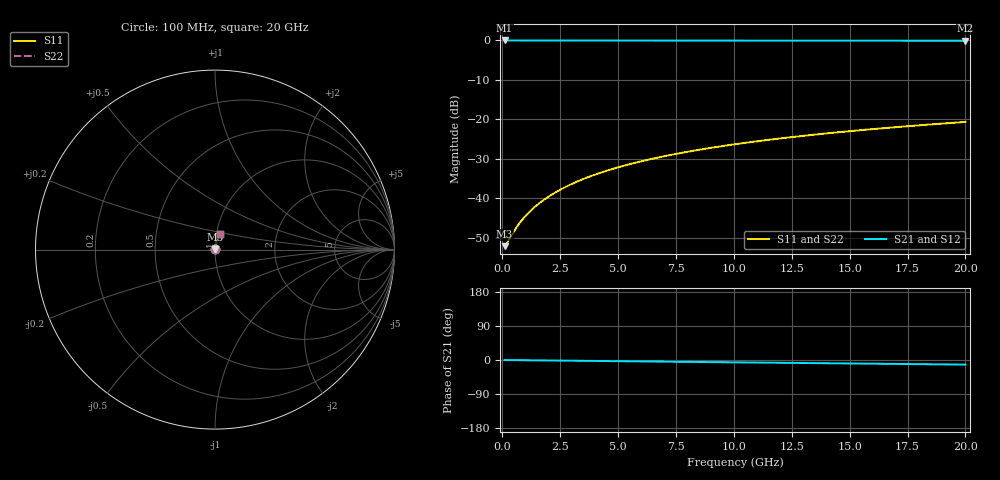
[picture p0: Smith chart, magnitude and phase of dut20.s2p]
! Touchstone file exported from HFSS 2026.1.0
!  File:  C:/ffzhzh/LocalFiles/Ansys_Project_Files/temp_train_BSMRDL_20_1782882023_8056.aedt
!  Generated:  01:01:33 PM Jul  1, 2026
!  Design:  BSMRDL
!  Project:  temp_train_BSMRDL_20_1782882023_8056
! Variables:
!  h_bsmrdl = 2.66um
!  h_ox = 20um
!  h_rdl = 5um
!  h_sub = 80um
!  h_tmrdl = 5um
!  h_tsv = 80um
!  h_via = 3um
!  l_bsmrdl = 186.48um
!  l_sub = 586.48um
!  l_tmrdl = 200um
!  m_sub = 200um
!  pitch = 19.39um
!  r_tsv = 6um
!  s_tmrdl = 10um
!  w_bsmrdl = 11.36um
!  w_sub = 500um
!  w_tmrdl = 12um
!  x_tsv_center1 = 206um
!  x_tsv_center2 = 403.84um
!  x_tsv_center3 = 615.84um
!  x_tsv_center4 = 813.68um
!  x_tsv_center5 = 1025.68um
!  x_tsv_center6 = 1223.52um
# GHz S MA R 50.000000
! Terminal data exported
! Port[1] = BSM_RDL1_1_T1
! Port[2] = BSM_RDL1_1_T2
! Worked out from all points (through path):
!   200 points, 100 MHz to 20 GHz, reference 50 ohm
!   highest |S21| = -0.02 dB at 100 MHz (marker M1); lowest = -0.1 dB at 20 GHz (marker M2)
!   group delay of S21, straight-line fit = 1.68 ps
!   lowest |S11| = -52.2 dB at 100 MHz (marker M3), VSWR 1.00, Z = 50.2 + j0.0579 ohm
!   |S11| at or under -10 dB: start of sweep to end of sweep
!   |S22| runs from -52.2 to -20.7 dB; largest |S21 - S12| = 6.1e-15
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0.1  0.002464 13.5  0.9976 -0.1  0.9976 -0.1  0.002464 13.5
! Gamma 0 0 0 0
! Port Impedance 50 0 50 0
0.2  0.002687 25.2  0.9976 -0.1  0.9976 -0.1  0.002687 25.2
0.5  0.00379 46.4  0.9974 -0.3  0.9974 -0.3  0.00379 46.4
0.6  0.004211 50.5  0.9973 -0.4  0.9973 -0.4  0.004211 50.5
0.8  0.005072 56.6  0.9972 -0.5  0.9972 -0.5  0.005072 56.6
1.1  0.006389 62.6  0.9971 -0.7  0.9971 -0.7  0.006389 62.6
1.4  0.007732 66.6  0.997 -0.9  0.997 -0.9  0.007732 66.6
1.8  0.009554 70.3  0.9969 -1.1  0.9969 -1.1  0.009554 70.3
2.3  0.01187 73.2  0.9968 -1.4  0.9968 -1.4  0.01187 73.2
2.9  0.01468 75.5  0.9967 -1.8  0.9967 -1.8  0.01468 75.5
3.5  0.01751 76.8  0.9965 -2.2  0.9965 -2.2  0.01751 76.8
4.2  0.02082 77.9  0.9963 -2.6  0.9963 -2.6  0.02082 77.8
5  0.02461 78.5  0.9961 -3.1  0.9961 -3.1  0.02461 78.5
5.9  0.02887 78.8  0.9958 -3.7  0.9958 -3.7  0.02887 78.8
6.8  0.03311 78.9  0.9955 -4.2  0.9955 -4.2  0.03311 78.9
8.3  0.04014 78.7  0.9949 -5.1  0.9949 -5.1  0.04014 78.7
10.1  0.04848 78.2  0.9941 -6.2  0.9941 -6.2  0.04848 78.1
11.7  0.05581 77.5  0.9933 -7.2  0.9933 -7.2  0.05581 77.5
13.4  0.0635 76.7  0.9924 -8.2  0.9924 -8.2  0.0635 76.7
15  0.07066 75.9  0.9915 -9.2  0.9915 -9.2  0.07066 75.9
16.7  0.07818 75.1  0.9905 -10.2  0.9905 -10.2  0.07818 75.1
20  0.09254 73.4  0.9885 -12.1  0.9885 -12.1  0.09254 73.4
